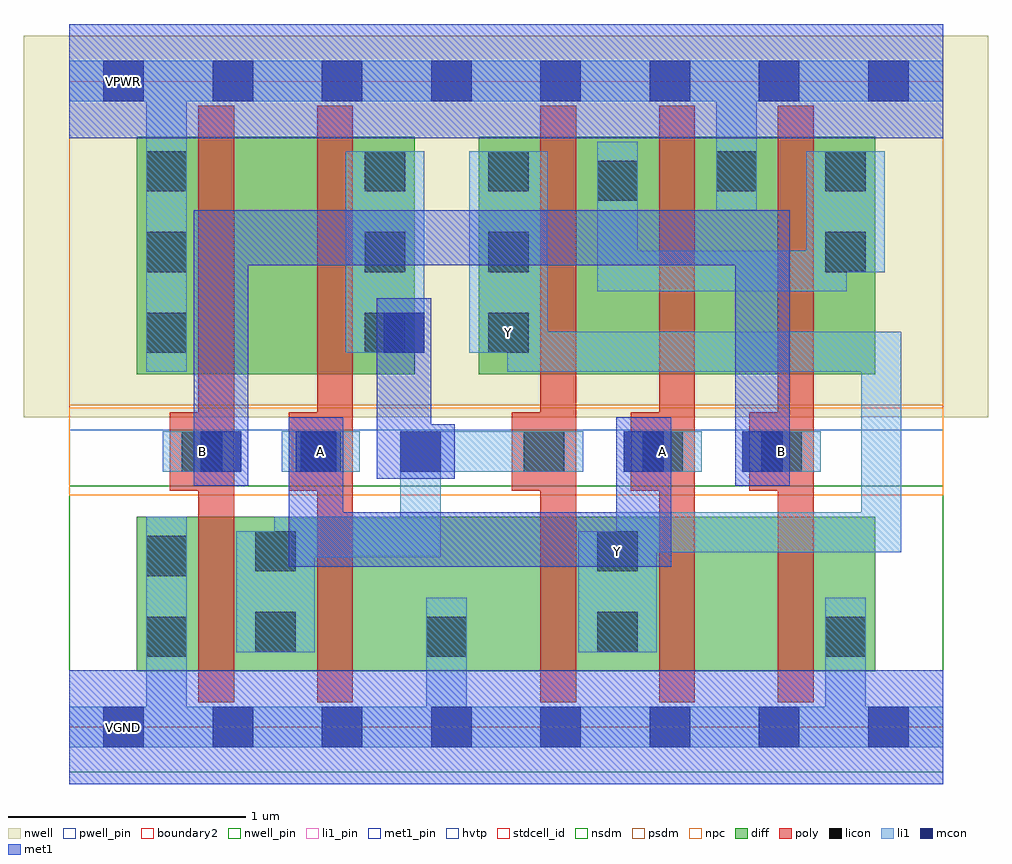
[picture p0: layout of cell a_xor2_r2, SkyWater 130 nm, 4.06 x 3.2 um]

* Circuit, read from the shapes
.subckt a_xor2_r2 A B VGND VNB VPB VPWR Y
XM1 n1 B VGND VNB sky130_fd_pr__nfet_01v8 w=0.65 l=0.15
XM2 VGND A n1 VNB sky130_fd_pr__nfet_01v8 w=0.65 l=0.15
XM3 Y n1 VGND VNB sky130_fd_pr__nfet_01v8 w=0.65 l=0.15
XM4 n2 A Y VNB sky130_fd_pr__nfet_01v8 w=0.65 l=0.15
XM5 VGND B n2 VNB sky130_fd_pr__nfet_01v8 w=0.65 l=0.15
XM6 n3 B VPWR VPB sky130_fd_pr__pfet_01v8_hvt w=1 l=0.15
XM7 n1 A n3 VPB sky130_fd_pr__pfet_01v8_hvt w=1 l=0.15
XM8 n4 n1 Y VPB sky130_fd_pr__pfet_01v8_hvt w=1 l=0.15
XM9 VPWR A n4 VPB sky130_fd_pr__pfet_01v8_hvt w=1 l=0.15
XM10 n4 B VPWR VPB sky130_fd_pr__pfet_01v8_hvt w=1 l=0.15
.ends

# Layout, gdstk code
import gdstk
lib = gdstk.Library(unit=1e-6, precision=1e-09)
def R(c, l, rs):  # rectangles x0, y0, x1, y1
    for r in rs: c.add(gdstk.rectangle(r[:2], r[2:], *l))
def A(c, l, x, y, w, h, nx, ny, dx, dy):  # array of equal rectangles
    R(c, l, [(x+i*dx, y+j*dy, x+i*dx+w, y+j*dy+h) for i in range(nx) for j in range(ny)])
nwell_pin = (64, 16)
nwell = (64, 20)
diff = (65, 20)
poly = (66, 20)
licon = (66, 44)
li1_pin = (67, 16)
li1 = (67, 20)
mcon = (67, 44)
met1_pin = (68, 16)
met1 = (68, 20)
hvtp = (78, 44)
stdcell_id = (81, 4)
nsdm = (93, 44)
psdm = (94, 20)
npc = (95, 20)
pwell_pin = (122, 16)
boundary2 = (236, 0)

a_xor2_r2 = lib.new_cell('a_xor2_r2')
R(a_xor2_r2, nwell_pin, [(0.145,2.635,0.315,2.805)])
R(a_xor2_r2, nwell, [(-0.19,1.305,3.87,2.91)])
R(a_xor2_r2, diff, [(0.285,0.235,0.87,0.885), (0.87,0.235,1.59,0.885), (1.59,0.235,2.31,0.885), (2.31,0.235,2.81,0.885), (2.81,0.235,3.395,0.885), (0.285,1.485,0.87,2.485), (0.87,1.485,1.455,2.485), (1.725,1.485,2.31,2.485), (2.31,1.485,2.81,2.485), (2.81,1.485,3.395,2.485)])
A(a_xor2_r2, poly, 1.985, 0.105, 0.15, 2.51, 3, 1, 0.5, 0)
A(a_xor2_r2, poly, 1.865, 0.995, 0.27, 0.33, 3, 1, 0.5, 0)
R(a_xor2_r2, poly, [(0.545,0.105,0.695,2.615), (1.045,0.105,1.195,2.615), (0.425,0.995,0.695,1.325), (0.925,0.995,1.195,1.325)])
A(a_xor2_r2, licon, 1.915, 1.075, 0.17, 0.17, 3, 1, 0.5, 0)
A(a_xor2_r2, licon, 0.325, 1.575, 0.17, 0.17, 1, 3, 0, 0.34)
A(a_xor2_r2, licon, 1.245, 1.575, 0.17, 0.17, 1, 3, 0, 0.34)
A(a_xor2_r2, licon, 1.765, 1.575, 0.17, 0.17, 1, 3, 0, 0.34)
R(a_xor2_r2, licon, [(0.325,0.295,0.495,0.465), (1.505,0.295,1.675,0.465), (3.185,0.295,3.355,0.465), (0.785,0.315,0.955,0.485), (2.225,0.315,2.395,0.485), (0.325,0.635,0.495,0.805), (0.785,0.655,0.955,0.825), (2.225,0.655,2.395,0.825), (0.475,1.075,0.645,1.245), (0.975,1.075,1.145,1.245), (3.185,1.915,3.355,2.085), (2.225,2.215,2.395,2.385), (2.725,2.255,2.895,2.425), (3.185,2.255,3.355,2.425)])
R(a_xor2_r2, li1_pin, [(2.225,0.655,2.395,0.825), (0.475,1.075,0.645,1.245), (0.975,1.075,1.145,1.245), (2.415,1.075,2.585,1.245), (2.915,1.075,3.085,1.245), (1.765,1.575,1.935,1.745)])
A(a_xor2_r2, li1, 1.835, 1.075, 0.33, 0.17, 3, 1, 0.5, 0)
R(a_xor2_r2, li1, [(0,-0.085,3.68,0.085), (0.325,-0.085,0.495,0.545), (1.505,-0.085,1.675,0.545), (3.185,-0.085,3.355,0.545), (0.325,0.295,0.495,0.885), (0.705,0.315,1.035,0.825), (2.145,0.315,2.475,0.825), (0.705,0.655,1.035,0.825), (0.865,0.655,1.035,0.885), (2.145,0.655,2.475,0.825), (2.305,0.655,2.475,0.905), (0.865,0.715,1.565,0.885), (1.395,0.715,1.565,1.245), (2.305,0.735,3.505,0.905), (3.335,0.735,3.505,1.665), (0.395,1.075,0.725,1.245), (0.895,1.075,1.225,1.245), (1.395,1.075,2.005,1.245), (0.325,1.495,0.495,2.085), (1.845,1.495,2.015,1.745), (1.845,1.495,3.505,1.665), (1.165,1.575,1.495,1.745), (1.165,1.575,1.495,2.085), (1.685,1.575,2.015,1.745), (1.685,1.575,2.015,2.085), (0.325,1.835,0.495,2.425), (2.225,1.835,2.395,2.305), (2.225,1.835,3.275,2.005), (3.105,1.835,3.275,2.425), (1.165,1.915,1.495,2.425), (1.685,1.915,2.015,2.425), (3.105,1.915,3.435,2.425), (2.225,2.005,2.395,2.135), (2.225,2.005,2.395,2.135), (2.225,2.005,2.395,2.135), (2.225,2.005,2.395,2.135), (0.325,2.085,0.495,2.175), (0.325,2.085,0.495,2.175), (0.325,2.085,0.495,2.175), (0.325,2.085,0.495,2.175), (2.225,2.135,2.395,2.465), (0.325,2.175,0.495,2.805), (2.725,2.175,2.895,2.805), (3.105,2.255,3.435,2.425), (0,2.635,3.68,2.805)])
A(a_xor2_r2, mcon, 0.145, -0.085, 0.17, 0.17, 8, 2, 0.46, 2.72)
R(a_xor2_r2, mcon, [(0.555,1.075,0.725,1.245), (0.955,1.075,1.125,1.245), (1.395,1.075,1.565,1.245), (2.335,1.075,2.505,1.245), (2.835,1.075,3.005,1.245), (1.325,1.575,1.495,1.745)])
R(a_xor2_r2, met1_pin, [(0.145,-0.085,0.315,0.085), (0.145,2.635,0.315,2.805)])
R(a_xor2_r2, met1, [(0,-0.24,3.68,0.24), (0.925,0.675,1.155,1.275), (0.925,0.675,2.535,0.905), (2.305,0.675,2.535,1.275), (0.925,0.905,1.155,1.015), (0.925,0.905,1.155,1.015), (0.925,0.905,1.155,1.015), (0.925,0.905,1.155,1.015), (2.305,0.905,2.535,1.015), (2.305,0.905,2.535,1.015), (2.305,0.905,2.535,1.015), (2.305,0.905,2.535,1.015), (0.525,1.015,0.755,1.305), (0.925,1.015,1.155,1.305), (2.305,1.015,2.535,1.305), (2.805,1.015,3.035,1.305), (0.525,1.045,0.755,2.175), (1.295,1.045,1.595,1.275), (1.295,1.045,1.525,1.775), (1.335,1.045,1.625,1.275), (2.805,1.045,3.035,2.175), (1.295,1.515,1.525,1.805), (0.525,1.945,3.035,2.175), (0,2.48,3.68,2.96)])
R(a_xor2_r2, hvtp, [(0,1.25,3.68,2.72)])
R(a_xor2_r2, stdcell_id, [(0,0,3.68,2.72)])
R(a_xor2_r2, nsdm, [(0,-0.19,3.68,1.015)])
R(a_xor2_r2, psdm, [(0,1.355,3.68,2.91)])
R(a_xor2_r2, npc, [(0,0.975,3.68,1.345)])
R(a_xor2_r2, pwell_pin, [(0.145,-0.085,0.315,0.085)])
R(a_xor2_r2, boundary2, [(0,0,3.68,2.72)])
a_xor2_r2.add(gdstk.Label('A', (1.06,1.16), layer=67, texttype=5))
a_xor2_r2.add(gdstk.Label('A', (2.5,1.16), layer=67, texttype=5))
a_xor2_r2.add(gdstk.Label('B', (0.56,1.16), layer=67, texttype=5))
a_xor2_r2.add(gdstk.Label('B', (3,1.16), layer=67, texttype=5))
a_xor2_r2.add(gdstk.Label('Y', (2.31,0.74), layer=67, texttype=5))
a_xor2_r2.add(gdstk.Label('Y', (1.85,1.66), layer=67, texttype=5))
a_xor2_r2.add(gdstk.Label('VGND', (0.23,0), layer=68, texttype=5))
a_xor2_r2.add(gdstk.Label('VPWR', (0.23,2.72), layer=68, texttype=5))
a_xor2_r2.add(gdstk.Label('VPB', (0.23,2.72), layer=64, texttype=5))
a_xor2_r2.add(gdstk.Label('VNB', (0.23,0), layer=64, texttype=59))

lib.write_gds('a_xor2_r2.gds')
